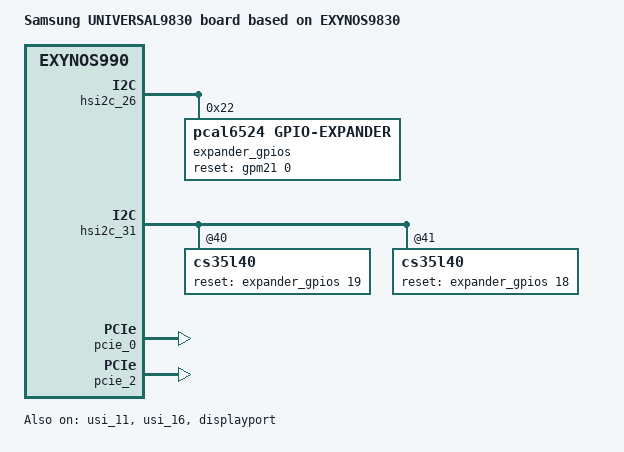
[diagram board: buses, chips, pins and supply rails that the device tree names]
/*
 * SAMSUNG EXYNOS9820 board device tree source
 *
 * Copyright (c) 2019 Samsung Electronics Co., Ltd.
 *		http://www.samsung.com
 *
 * This program is free software; you can redistribute it and/or modify
 * it under the terms of the GNU General Public License version 2 as
 * published by the Free Software Foundation.
*/

/dts-v1/;
/plugin/;
#include "exynos9830-universal9830_power.dtsi"
#include "exynos9830-universal9830_common.dtsi"
//#include "exynos9830-universal9830-camera_r01.dtsi"
#include "exynos9830-universal9830-cp-s5123-sipc.dtsi"

#define BOARD_ID	0x10
#define BOARD_REV	0x4

/ {
	compatible = "samsung,exynos990", "samsung,UNIVERSAL990";
	board_id = <BOARD_ID>;
	board_rev = <BOARD_REV>;

	fragment@model {
		target-path = "/";
		__overlay__ {
			#address-cells = <2>;
			#size-cells = <1>;

			model = "Samsung UNIVERSAL9830 board based on EXYNOS9830";

			acpm_ipc {
				compatible = "samsung,exynos-acpm-ipc";
				board-id = <BOARD_ID>;
				board-rev = <BOARD_REV>;
			};

			firmware {
				android: android {
					compatible = "android,firmware";
					vbmeta {
						compatible = "android,vbmeta";
						parts = "vbmeta,boot,system,vendor";
					};
					fstab {
						compatible = "android,fstab";
						vendor: vendor {
							compatible = "android,vendor";
							dev = "/dev/block/platform/13100000.ufs/by-name/vendor";
							type = "ext4";
							mnt_flags = "ro";
							fsmgr_flags = "wait,avb";
							status = "disabled";
						};
					};
				};
			};

			micbias1: fixedregulator@1 {
				gpio = <&gpp4 1 0>;
			};
		}; /* end of __overlay__ */
	}; /* end of fragment */
}; /* end of root */

&panel_0 {
	/* reset, power */
	gpios = <&gpa3 4 0x1>;
};

&chosen {
	bootargs_ext = "console=ram root=/dev/ram0 androidboot.boot_devices=13100000.ufs";
};

&usi_11 {
	usi_v2_mode = "i2c";
	status = "okay";
};

&usi_16 {
	usi_v2_mode = "spi";
	status = "okay";
};

&hsi2c_26 {
	#address-cells = <1>;
	#size-cells = <0>;
	status = "okay";

	expander_gpios: pcal6524@22 {
		compatible = "pcal6524,gpio-expander";
		gpio-controller;
		#gpio-cells = <2>;
		reg = <0x22>;
		pinctrl-names = "expander_reset_setting";
		pinctrl-0 = <&expander_reset_active>;
		pcal6524,gpio_start = <300>;
		pcal6524,ngpio = <24>;
		pcal6524,reset-gpio = <&gpm21 0 0>;
		pcal6524,support_initialize = <1>;
		/* config, 24 ~ 0, 1bit configure[1:input, 0:output]*/
		pcal6524,config = <0xFFFFFF>;    /* P2[11111111] P1[11111111] P0[11111111] */
		/* data_out, 24 ~ 0, 1bit configure[1:high, 0:low]*/
		pcal6524,data_out = <0x000000>;  /* P2[00000000] P1[00000000] P0[00000000] */
		/* pull_reg, 8 ~ 0, 2bit configure[00:no_pull, 01:pull_down, 10:pull_up, 11:not used] */
		pcal6524,pull_reg_p0 = <0x0000>; /* 00 00 00 00 / 00 00 00 00 */
		pcal6524,pull_reg_p1 = <0x0000>; /* 00 00 00 00 / 00 00 00 00 */
		pcal6524,pull_reg_p2 = <0x0000>; /* 00 00 00 00 / 00 00 00 00 */
	};
};

&hsi2c_31 {
	cs35l40@40 {
		pinctrl-names;
		reset-gpios = <&expander_gpios 19 0>;
	};

	cs35l40@41 {
		pinctrl-names;
		reset-gpios = <&expander_gpios 18 0>;
	};
};

&pcie_0 {
	status = "okay";
	use-sysmmu = "false";
	use-cache-coherency = "false";
	use-msi = "false";
	ep-device-type = <EP_BCM_WIFI>;
	pcie,wlan-gpio = <&gpb0 4 0x1 /* WLAN_EN */ >;
};

&pcie_2 {
	status = "okay";
	chip-ver = <1>;
	use-sysmmu = "false";
	use-cache-coherency = "true";
	use-msi = "true";
	use-pcieon-sleep = "true";
	phy-power-off = "false";
	ep-device-type = <EP_SAMSUNG_MODEM>;
};

&ufs {
	/* board type for UFS CAL */
	evt-ver = /bits/ 8 <1>;
};

&displayport {
	status = "okay";
	dp,aux_sw_oe = <&expander_gpios 13 0>;
	dp,sbu_sw_sel = <&expander_gpios 12 0>;
	dp,usb_con_sel = <&gpm26 0 0>;

	pinctrl-names = "default";
};

